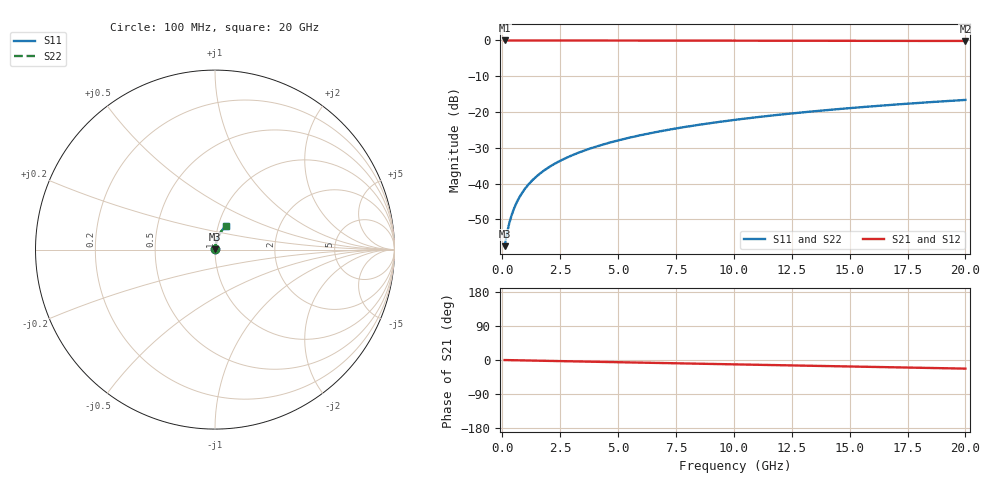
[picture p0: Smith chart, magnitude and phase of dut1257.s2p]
! Touchstone file exported from HFSS 2026.1.0
!  File:  C:/ffzhzh/LocalFiles/Ansys_Project_Files/temp_train_TMRDL_1257_1783163929_43440.aedt
!  Generated:  07:20:02 PM Jul  4, 2026
!  Design:  TMRDL
!  Project:  temp_train_TMRDL_1257_1783163929_43440
! Variables:
!  h_bsmrdl = 2um
!  h_ox = 20um
!  h_rdl = 5um
!  h_sub = 80um
!  h_tmrdl = 5.95um
!  h_tsv = 80um
!  h_via = 3um
!  l_bsmrdl = 300um
!  l_sub = 750.33um
!  l_tmrdl = 350.33um
!  m_sub = 200um
!  pitch = 46.82um
!  r_tsv = 6um
!  s_tmrdl = 10um
!  w_bsmrdl = 18um
!  w_sub = 500um
!  w_tmrdl = 29.1um
!  x_tsv_center1 = 364.88um
!  x_tsv_center2 = 682.88um
!  x_tsv_center3 = 1062.31um
!  x_tsv_center4 = 1380.31um
!  x_tsv_center5 = 1759.74um
!  x_tsv_center6 = 2077.74um
# GHz S MA R 50.000000
! Terminal data exported
! Port[1] = TM_RDL1_1_T1
! Port[2] = TM_RDL1_1_T2
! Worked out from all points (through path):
!   200 points, 100 MHz to 20 GHz, reference 50 ohm
!   highest |S21| = -0.01 dB at 100 MHz (marker M1); lowest = -0.2 dB at 20 GHz (marker M2)
!   group delay of S21, straight-line fit = 3.15 ps
!   lowest |S11| = -57.5 dB at 100 MHz (marker M3), VSWR 1.00, Z = 50.1 + j0.0974 ohm
!   |S11| at or under -10 dB: start of sweep to end of sweep
!   |S22| runs from -57.5 to -16.6 dB; largest |S21 - S12| = 3.4e-15
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0.1  0.001333 46.8  0.9991 -0.1  0.9991 -0.1  0.001333 46.8
! Gamma 0 0 0 0
! Port Impedance 50 0 50 0
0.2  0.002004 62.2  0.999 -0.2  0.999 -0.2  0.002004 62.2
0.3  0.002782 69.9  0.9989 -0.4  0.9989 -0.4  0.002782 69.9
0.4  0.003596 74.0  0.9988 -0.5  0.9988 -0.5  0.003596 74.0
0.5  0.004426 76.6  0.9988 -0.6  0.9988 -0.6  0.004426 76.6
0.6  0.005263 78.2  0.9987 -0.7  0.9987 -0.7  0.005263 78.2
0.8  0.006942 80.1  0.9987 -1.0  0.9987 -1.0  0.006942 80.1
1.1  0.009451 81.3  0.9986 -1.3  0.9986 -1.3  0.009451 81.3
1.3  0.01111 81.7  0.9985 -1.5  0.9985 -1.5  0.01111 81.7
1.5  0.01276 81.8  0.9984 -1.8  0.9984 -1.8  0.01276 81.8
1.8  0.0152 81.9  0.9982 -2.1  0.9982 -2.1  0.0152 81.9
2.1  0.01761 81.8  0.998 -2.5  0.998 -2.5  0.01761 81.8
2.7  0.02236 81.5  0.9977 -3.2  0.9977 -3.2  0.02236 81.5
3.5  0.02858 80.9  0.9971 -4.1  0.9971 -4.1  0.02858 80.9
4.2  0.03396 80.4  0.9967 -4.9  0.9967 -4.9  0.03396 80.4
5  0.04005 79.8  0.9961 -5.8  0.9961 -5.8  0.04005 79.8
6.8  0.05362 78.2  0.9949 -7.9  0.9949 -7.9  0.05362 78.2
8.3  0.0648 76.8  0.9939 -9.6  0.9939 -9.6  0.0648 76.8
10.1  0.07806 75.1  0.9925 -11.6  0.9925 -11.6  0.07805 75.1
13.4  0.1019 71.7  0.9896 -15.4  0.9896 -15.4  0.1019 71.7
16.7  0.1251 68.3  0.9864 -19.1  0.9864 -19.1  0.1251 68.3
20  0.1475 64.8  0.9828 -22.7  0.9828 -22.7  0.1475 64.9
